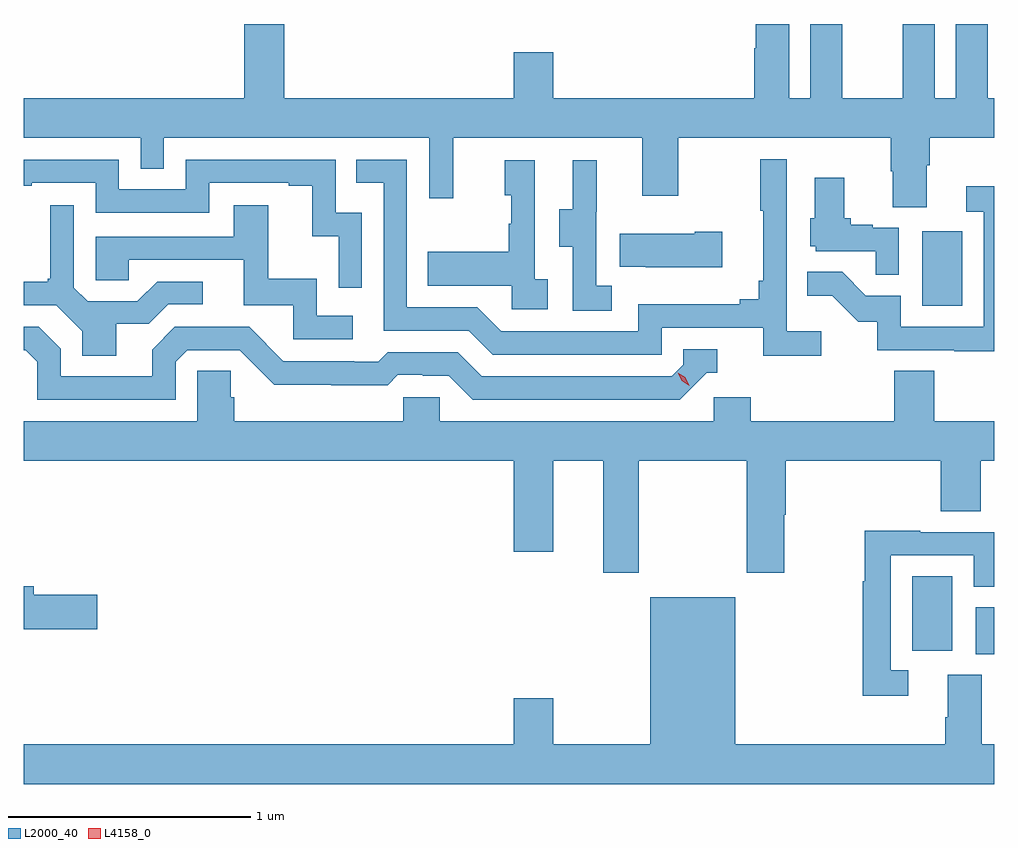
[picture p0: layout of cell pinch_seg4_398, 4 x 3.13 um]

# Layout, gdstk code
import gdstk
lib = gdstk.Library(unit=1e-6, precision=1e-09)
def R(c, l, rs):  # rectangles x0, y0, x1, y1
    for r in rs: c.add(gdstk.rectangle(r[:2], r[2:], *l))
def P(c, l, *ps):  # polygons
    for p in ps: c.add(gdstk.Polygon(p, *l))
L2000_40 = (2000, 40)
L4158_0 = (4158, 0)

pinch_seg4_398 = lib.new_cell('pinch_seg4_398')
R(pinch_seg4_398, L2000_40, [(970.11,785.367,970.185,785.561), (969.848,785.382,970.012,785.689), (969.89,786.804,970.054,787.111)])
P(pinch_seg4_398, L2000_40, [(969.907,787.384),(969.92,787.384),(969.92,787.496),(970.185,787.496),(970.185,787.66),(970.159,787.66),(970.159,787.966),(970.028,787.966),(970.028,787.66),(969.94,787.66),(969.94,787.966),(969.809,787.966),(969.809,787.66),(969.559,787.66),(969.559,787.966),(969.428,787.966),(969.428,787.66),(969.34,787.66),(969.34,787.966),(969.203,787.966),(969.203,787.865),(969.197,787.865),(969.197,787.66),(968.368,787.66),(968.368,787.849),(968.204,787.849),(968.204,787.66),(967.258,787.66),(967.258,787.966),(967.094,787.966),(967.094,787.66),(966.185,787.66),(966.185,787.496),(966.666,787.496),(966.666,787.369),(966.762,787.369),(966.762,787.496),(967.857,787.496),(967.857,787.248),(967.955,787.248),(967.955,787.496),(968.735,787.496),(968.735,787.257),(968.883,787.257),(968.883,787.496),(969.76,787.496),(969.76,787.359),(969.767,787.359),(969.767,787.21),(969.907,787.21)],
  [(969.472,786.7),(969.33,786.7),(969.33,787.408),(969.222,787.408),(969.222,787.195),(969.233,787.195),(969.233,786.907),(969.214,786.907),(969.214,786.83),(969.137,786.83),(969.137,786.811),(968.718,786.811),(968.718,786.699),(968.154,786.699),(968.055,786.798),(967.764,786.798),(967.764,787.407),(967.555,787.407),(967.555,787.311),(967.668,787.311),(967.668,786.702),(968.018,786.702),(968.117,786.603),(968.814,786.603),(968.814,786.714),(969.233,786.714),(969.233,786.598),(969.472,786.598)],
  [(967.578,787.188),(967.47,787.188),(967.47,787.407),(966.852,787.407),(966.852,787.284),(966.576,787.284),(966.576,787.407),(966.185,787.407),(966.185,787.299),(966.217,787.299),(966.217,787.311),(966.48,787.311),(966.48,787.188),(966.948,787.188),(966.948,787.311),(967.277,787.311),(967.277,787.299),(967.373,787.299),(967.373,787.091),(967.482,787.091),(967.482,786.879),(967.578,786.879)],
  [(968.344,786.914),(968.292,786.914),(968.292,787.405),(968.168,787.405),(968.168,787.26),(968.194,787.26),(968.194,787.142),(968.184,787.142),(968.184,787.027),(967.849,787.027),(967.849,786.887),(968.196,786.887),(968.196,786.789),(968.344,786.789)],
  [(968.608,786.887),(968.544,786.887),(968.544,787.191),(968.546,787.191),(968.546,787.405),(968.447,787.405),(968.447,787.203),(968.393,787.203),(968.393,787.048),(968.448,787.048),(968.448,786.784),(968.608,786.784)],
  [(969.792,787.125),(969.686,787.125),(969.686,787.138),(969.594,787.138),(969.594,787.164),(969.568,787.164),(969.568,787.333),(969.446,787.333),(969.446,787.164),(969.428,787.164),(969.428,787.05),(969.45,787.05),(969.45,787.029),(969.697,787.029),(969.697,786.931),(969.792,786.931)],
  [(970.185,787.297),(970.071,787.297),(970.071,787.191),(970.143,787.191),(970.143,786.717),(969.801,786.717),(969.801,786.846),(969.657,786.846),(969.559,786.944),(969.415,786.944),(969.415,786.845),(969.519,786.845),(969.626,786.738),(969.703,786.738),(969.703,786.621),(970.021,786.621),(970.021,786.616),(970.185,786.616)],
  [(967.54,786.762),(967.392,786.762),(967.392,786.916),(967.193,786.916),(967.193,787.219),(967.049,787.219),(967.049,787.089),(966.48,787.089),(966.48,786.909),(966.617,786.909),(966.617,786.993),(967.091,786.993),(967.091,786.807),(967.296,786.807),(967.296,786.666),(967.54,786.666)],
  [(966.565,786.73),(966.7,786.73),(966.78,786.81),(966.922,786.81),(966.922,786.903),(966.734,786.903),(966.653,786.822),(966.447,786.822),(966.39,786.879),(966.39,787.219),(966.293,787.219),(966.293,786.916),(966.282,786.916),(966.282,786.904),(966.185,786.904),(966.185,786.807),(966.318,786.807),(966.425,786.7),(966.425,786.598),(966.565,786.598)],
  [(969.064,787.11),(968.951,787.11),(968.951,787.102),(968.641,787.102),(968.641,786.965),(968.749,786.965),(968.749,786.962),(969.064,786.962)],
  [(966.81,786.573),(966.858,786.621),(967.074,786.621),(967.216,786.479),(967.452,786.479),(967.452,786.477),(967.685,786.477),(967.727,786.519),(967.83,786.519),(967.83,786.516),(967.937,786.516),(968.036,786.417),(968.889,786.417),(969,786.528),(969.043,786.528),(969.043,786.624),(968.904,786.624),(968.904,786.561),(968.856,786.513),(968.073,786.513),(967.974,786.612),(967.685,786.612),(967.646,786.573),(967.547,786.573),(967.547,786.576),(967.254,786.576),(967.113,786.717),(966.807,786.717),(966.713,786.623),(966.713,786.513),(966.336,786.513),(966.336,786.627),(966.246,786.717),(966.185,786.717),(966.185,786.621),(966.192,786.621),(966.24,786.573),(966.24,786.417),(966.81,786.417)],
  [(968.721,786.164),(969.166,786.164),(969.166,785.703),(969.321,785.703),(969.321,785.942),(969.326,785.942),(969.326,786.164),(969.965,786.164),(969.965,785.956),(970.13,785.956),(970.13,786.164),(970.185,786.164),(970.185,786.328),(969.938,786.328),(969.938,786.536),(969.773,786.536),(969.773,786.328),(969.182,786.328),(969.182,786.426),(969.03,786.426),(969.03,786.328),(967.899,786.328),(967.899,786.426),(967.749,786.426),(967.749,786.328),(967.052,786.328),(967.052,786.426),(967.037,786.426),(967.037,786.536),(966.9,786.536),(966.9,786.328),(966.185,786.328),(966.185,786.164),(968.204,786.164),(968.204,785.79),(968.368,785.79),(968.368,786.164),(968.573,786.164),(968.573,785.703),(968.721,785.703)],
  [(969.832,785.301),(969.759,785.301),(969.759,785.775),(970.101,785.775),(970.101,785.646),(970.185,785.646),(970.185,785.871),(969.881,785.871),(969.881,785.876),(969.651,785.876),(969.651,785.668),(969.643,785.668),(969.643,785.196),(969.832,785.196)],
  [(966.487,785.612),(966.226,785.612),(966.226,785.648),(966.185,785.648),(966.185,785.47),(966.487,785.47)],
  [(970.185,784.996),(970.135,784.996),(970.135,785.282),(969.995,785.282),(969.995,785.108),(969.983,785.108),(969.983,784.996),(969.118,784.996),(969.118,785.602),(968.768,785.602),(968.768,784.996),(968.368,784.996),(968.368,785.185),(968.204,785.185),(968.204,784.996),(966.185,784.996),(966.185,784.832),(970.185,784.832)])
P(pinch_seg4_398, L4158_0, [(968.928,786.475),(968.897,786.495),(968.881,786.528),(968.881,786.528),(968.881,786.528),(968.912,786.509),(968.928,786.476),(968.928,786.475)])

lib.write_gds('pinch_seg4_398.gds')
